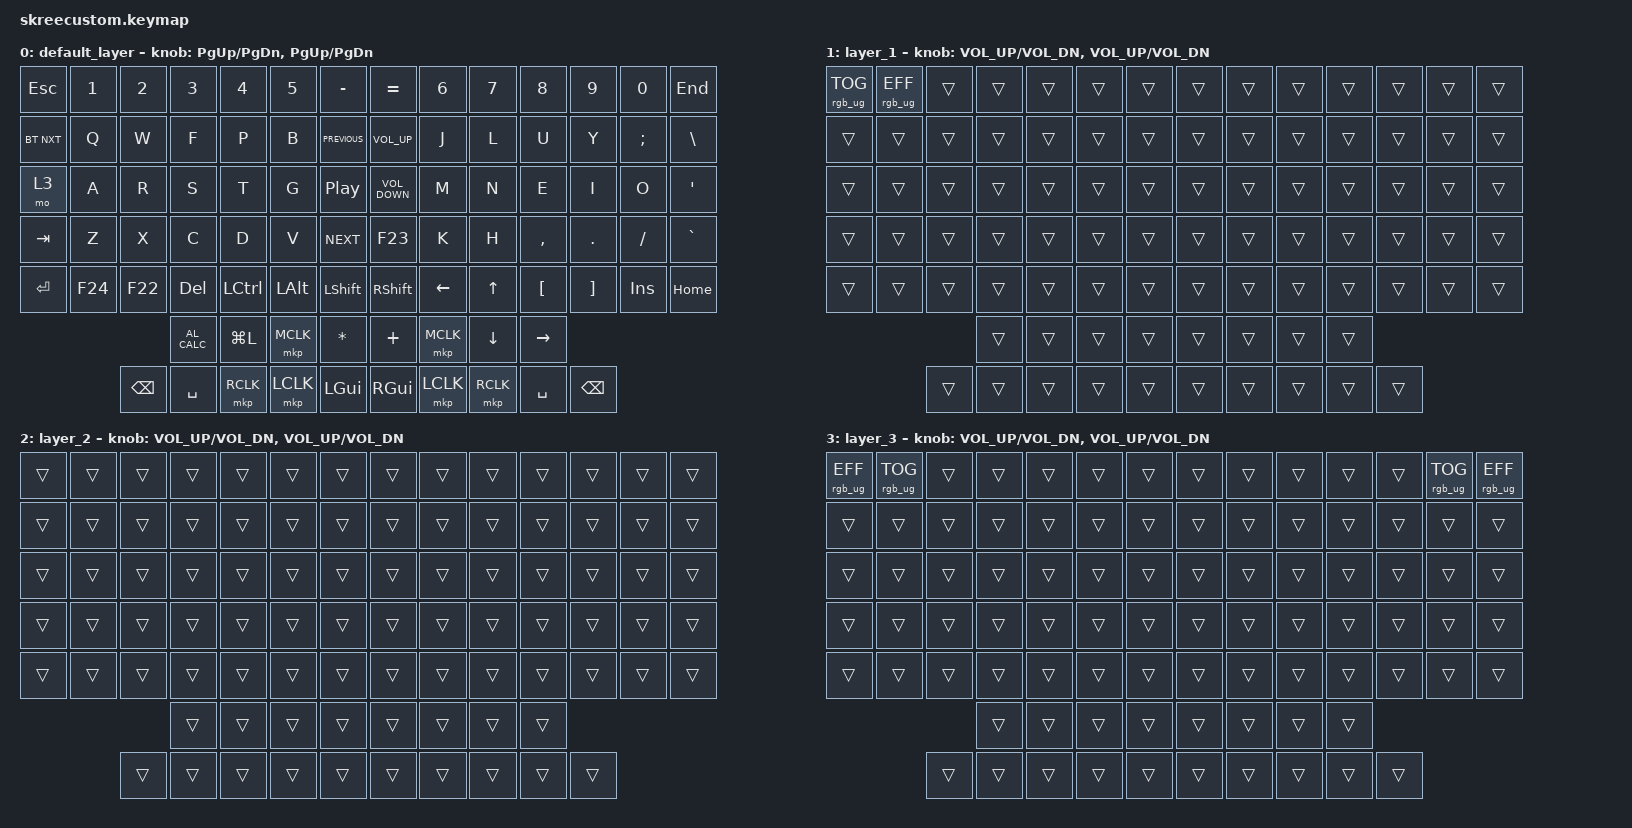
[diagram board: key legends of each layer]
/*
 * Copyright (c) 2020 The ZMK Contributors
 *
 * SPDX-License-Identifier: MIT
 */
//#include <behaviors/mouse_keys.dtsi>

#include <input/processors.dtsi>
#include <dt-bindings/zmk/input_transform.h>
#include <behaviors.dtsi>
#include <dt-bindings/zmk/bt.h>
#include <dt-bindings/zmk/keys.h>
#include <dt-bindings/zmk/pointing.h>
#include <dt-bindings/zmk/rgb.h>

/ {
    keymap {
        compatible = "zmk,keymap";

        default_layer {
            bindings = <
&kp ESC     &kp NUMBER_1  &kp NUMBER_2   &kp NUMBER_3   &kp NUMBER_4      &kp N5        &kp MINUS           &kp EQUAL          &kp NUMBER_6  &kp N7        &kp N8            &kp N9             &kp N0         &kp END
&bt BT_NXT  &kp Q         &kp W          &kp F          &kp P             &kp B         &kp C_PREVIOUS      &kp C_VOLUME_UP    &kp J         &kp L         &kp U             &kp Y              &kp SEMICOLON  &kp BACKSLASH
&mo 3       &kp A         &kp R          &kp S          &kp T             &kp G         &kp C_PLAY_PAUSE    &kp C_VOLUME_DOWN  &kp M         &kp N         &kp E             &kp I              &kp O          &kp APOSTROPHE
&kp TAB     &kp Z         &kp X          &kp C          &kp D             &kp V         &kp C_NEXT          &kp F23            &kp K         &kp H         &kp COMMA         &kp PERIOD         &kp SLASH      &kp GRAVE
&kp ENTER   &kp F24       &kp F22        &kp DELETE     &kp LEFT_CONTROL  &kp LEFT_ALT  &kp LEFT_SHIFT      &kp RIGHT_SHIFT    &kp LEFT      &kp UP_ARROW  &kp LEFT_BRACKET  &kp RIGHT_BRACKET  &kp INSERT     &kp HOME
                                         &kp C_AL_CALC  &kp LG(L)         &mkp MCLK     &kp STAR            &kp PLUS           &mkp MCLK     &kp DOWN      &kp RIGHT
                          &kp BACKSPACE  &kp SPACE      &mkp RCLK         &mkp LCLK     &kp LEFT_GUI        &kp RIGHT_GUI      &mkp LCLK     &mkp RCLK     &kp SPACE         &kp BACKSPACE
            >;

            sensor-bindings =
                <&inc_dec_kp PAGE_UP PAGE_DOWN>,
                <&inc_dec_kp PAGE_UP PAGE_DOWN>;
        };

        layer_1 {
            bindings = <
&rgb_ug RGB_TOG  &rgb_ug RGB_EFF  &trans  &trans  &trans  &trans  &trans    &trans  &trans  &trans  &trans  &trans  &trans  &trans
&trans           &trans           &trans  &trans  &trans  &trans  &trans    &trans  &trans  &trans  &trans  &trans  &trans  &trans
&trans           &trans           &trans  &trans  &trans  &trans  &trans    &trans  &trans  &trans  &trans  &trans  &trans  &trans
&trans           &trans           &trans  &trans  &trans  &trans  &trans    &trans  &trans  &trans  &trans  &trans  &trans  &trans
&trans           &trans           &trans  &trans  &trans  &trans  &trans    &trans  &trans  &trans  &trans  &trans  &trans  &trans
                                          &trans  &trans  &trans  &trans    &trans  &trans  &trans  &trans
                                  &trans  &trans  &trans  &trans  &trans    &trans  &trans  &trans  &trans  &trans
            >;

            sensor-bindings = <&inc_dec_kp C_VOL_UP C_VOL_DN &inc_dec_kp C_VOL_UP C_VOL_DN>;
        };

        layer_2 {
            bindings = <
&trans  &trans  &trans  &trans  &trans  &trans  &trans    &trans  &trans  &trans  &trans  &trans  &trans  &trans
&trans  &trans  &trans  &trans  &trans  &trans  &trans    &trans  &trans  &trans  &trans  &trans  &trans  &trans
&trans  &trans  &trans  &trans  &trans  &trans  &trans    &trans  &trans  &trans  &trans  &trans  &trans  &trans
&trans  &trans  &trans  &trans  &trans  &trans  &trans    &trans  &trans  &trans  &trans  &trans  &trans  &trans
&trans  &trans  &trans  &trans  &trans  &trans  &trans    &trans  &trans  &trans  &trans  &trans  &trans  &trans
                        &trans  &trans  &trans  &trans    &trans  &trans  &trans  &trans
                &trans  &trans  &trans  &trans  &trans    &trans  &trans  &trans  &trans  &trans
            >;

            sensor-bindings = <&inc_dec_kp C_VOL_UP C_VOL_DN &inc_dec_kp C_VOL_UP C_VOL_DN>;
        };

        layer_3 {
            bindings = <
&rgb_ug RGB_EFF  &rgb_ug RGB_TOG  &trans  &trans  &trans  &trans  &trans    &trans  &trans  &trans  &trans  &trans  &rgb_ug RGB_TOG  &rgb_ug RGB_EFF
&trans           &trans           &trans  &trans  &trans  &trans  &trans    &trans  &trans  &trans  &trans  &trans  &trans           &trans
&trans           &trans           &trans  &trans  &trans  &trans  &trans    &trans  &trans  &trans  &trans  &trans  &trans           &trans
&trans           &trans           &trans  &trans  &trans  &trans  &trans    &trans  &trans  &trans  &trans  &trans  &trans           &trans
&trans           &trans           &trans  &trans  &trans  &trans  &trans    &trans  &trans  &trans  &trans  &trans  &trans           &trans
                                          &trans  &trans  &trans  &trans    &trans  &trans  &trans  &trans
                                  &trans  &trans  &trans  &trans  &trans    &trans  &trans  &trans  &trans  &trans
            >;

            sensor-bindings = <&inc_dec_kp C_VOL_UP C_VOL_DN &inc_dec_kp C_VOL_UP C_VOL_DN>;
        };
    };
};
